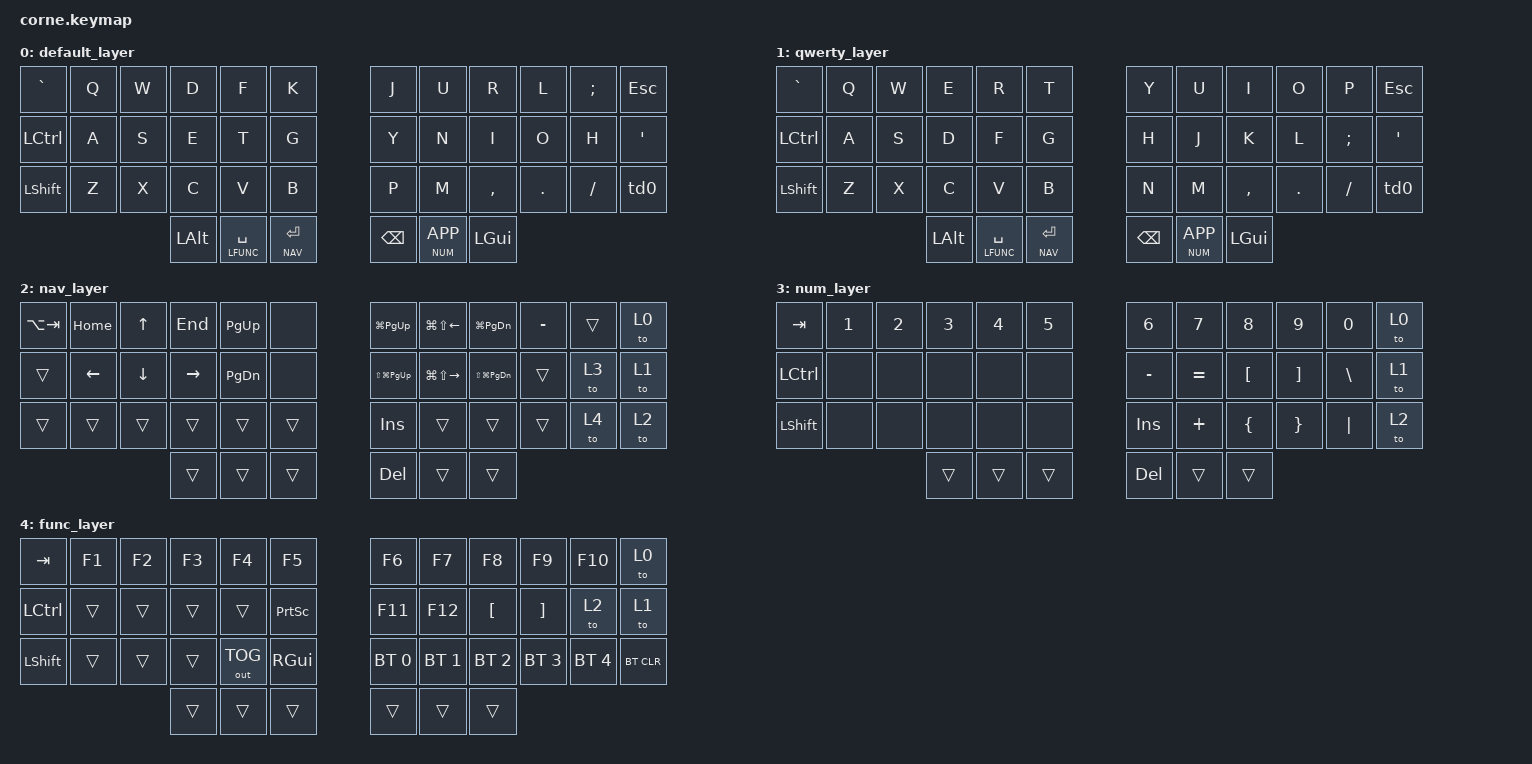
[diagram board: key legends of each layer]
/*
 * Copyright (c) 2020 The ZMK Contributors
 *
 * SPDX-License-Identifier: MIT
 */

#include <behaviors.dtsi>
#include <dt-bindings/zmk/keys.h>
#include <dt-bindings/zmk/bt.h>
#include <dt-bindings/zmk/outputs.h>

#define NORMAN 0
#define QWERTY 1
#define NAV 2
#define NUM 3
#define LFUNC 4


/ {
    behaviors {
        td0: tap_dance_0 {
            compatible = "zmk,behavior-tap-dance";
            label = "TAP_DANCE_0";
            #binding-cells = <0>;
            tapping-term-ms = <200>;
            bindings = <&kp LBKT>, <&kp RBKT>;
        }; 
        td1: tap_dance_1 {
            compatible = "zmk,behavior-tap-dance";
            label = "TAP_DANCE_1";
            #binding-cells = <0>;
            tapping-term-ms = <200>;
            bindings = <&kp LBRC>, <&kp RBRC>;
        };
    };
    keymap {
        compatible = "zmk,keymap";
        default_layer {
// -------------------------------------------------------------------------------------
// | GRAVE |  Q  |  W  |  D   |  F  |  K  |  |  J   |      U   |  R  |  L  |  ;  | ESC  |
// | CTRL  |  A  |  S  |  E   |  T  |  G  |  |  Y   |      N   |  I  |  O  |  H  |  '   |
// | LSHFT |  Z  |  X  |  C   |  V  |  B  |  |  P   |      M   |  ,  |  .  |  /  |  []  |
//                     | ALT  |     |     |  | BSPC | NUM/MENU | GUI |
            bindings = <
    &kp GRAVE &kp Q &kp W &kp D &kp F &kp K   &kp J &kp U    &kp R     &kp L   &kp SEMI &kp ESC
    &kp LCTRL &kp A &kp S &kp E &kp T &kp G   &kp Y &kp N    &kp I     &kp O   &kp H    &kp SQT
    &kp LSHFT &kp Z &kp X &kp C &kp V &kp B   &kp P &kp M    &kp COMMA &kp DOT &kp FSLH &td0
            &kp LALT &lt LFUNC SPACE &lt NAV  RET   &kp BSPC &lt NUM K_APP &kp LGUI
            >;
        };
        qwerty_layer {
// -------------------------------------------------------------------------------------
// | GRAVE |  Q  |  W  |  E   |  R  |  T  |  |  Y   |  U   |  I  |  O  |  P  | ESC  |
// | CTRL  |  A  |  S  |  D   |  F  |  G  |  |  H   |  J   |  K  |  L  |  ;  |  '   |
// | LSHFT |  Z  |  X  |  C   |  V  |  B  |  |  N   |  M   |  ,  |  .  |  /  |  []  |
//                     | ALT |     |     |  | BSPC | NUM/MENU | GUI |
            bindings = <
    &kp GRAVE &kp Q &kp W &kp E &kp R &kp T   &kp Y &kp U  &kp I     &kp O   &kp P    &kp ESC
    &kp LCTRL &kp A &kp S &kp D &kp F &kp G   &kp H &kp J  &kp K     &kp L   &kp SEMI &kp SQT
    &kp LSHFT  &kp Z &kp X &kp C &kp V &kp B   &kp N &kp M  &kp COMMA &kp DOT &kp FSLH &td0
            &kp LALT &lt LFUNC SPACE &lt NAV RET   &kp BSPC &lt NUM K_APP &kp LGUI
            >;
        };
        nav_layer {
// --------------------------------------------------------------------------------------
// | ALT TAB | HOME  | UP  |  END  | PGUP |      |   | BT1 | BT2 | BT3 | BT4 | BT5 |     |
// |         | LEFT  | DWN | RIGHT | PGDN |      |   | LFT | DWN | UP  |  -  |  =  |     |
// |         | V LFT |     | V RGT |      |      |   | INS |     |     |     |     |     |
//                            |    |      |      |   | DEL |     | GUI |
            bindings = <
    &kp LA(TAB) &kp HOME &kp UP   &kp END   &kp PG_UP &none       &kp LG(PG_UP)     &kp LG(LS(LEFT))  &kp LG(PG_DN)     &kp MINUS &trans &to 0
    &trans      &kp LEFT &kp DOWN &kp RIGHT &kp PG_DN &none       &kp LS(LG(PG_UP)) &kp LG(LS(RIGHT)) &kp LS(LG(PG_DN)) &trans    &to 3  &to 1
    &trans      &trans   &trans   &trans    &trans    &trans      &kp INS           &trans            &trans            &trans    &to 4  &to 2
                                  &trans    &trans    &trans      &kp DEL           &trans            &trans
            >;
        };
        num_layer {

// -----------------------------------------------------------------------------------------
// |  TAB |  1  |  2  |  3  |  4  |  5  |   |  6   |  7  |  8  |  9  |  0  | BKSP |
// | CTRL |     |     |     |     |     |   |  -   |  =  |  [  |  ]  |  \  |  `   |
// | SHFT |     |     |     |     |     |   | BOOT |  +  |  {  |  }  | "|" |  ~   |
//                    |     |     |     |   |      |     | ALT |
            bindings = <
    &kp TAB   &kp N1 &kp N2 &kp N3 &kp N4 &kp N5     &kp N6    &kp N7    &kp N8   &kp N9   &kp N0   &to 0
    &kp LCTRL &none  &none  &none  &none  &none      &kp MINUS &kp EQUAL &kp LBKT &kp RBKT &kp BSLH &to 1
    &kp LSHFT &none  &none  &none  &none  &none      &kp INS   &kp PLUS  &kp LBRC &kp RBRC &kp PIPE &to 2
                            &trans &trans &trans     &kp DEL   &trans    &trans
            >;
        };
        func_layer {
// -----------------------------------------------------------------------------------------
// |  TAB |  F1  |  F2  |  F3  |  F4  |  F5   |   |  F6  |  F7  |  F8  |  F9  |  F10  |  F11  |
// | CTRL |      |      |      |      | PSCRN |   | F12  |   =  |  [   |  ]   |   \   |   `   |
// | SHFT |      |      |      |      |       |   | BT1  |  BT2 |  BT3 |  BT4 |  BT5  | BTCLR |
//                      |      |      |       |   |      |      |      |
            bindings = <
    &kp TAB   &kp F1 &kp F2 &kp F3 &kp F4 &kp F5       &kp F6       &kp F7       &kp F8       &kp F9       &kp F10      &to 0
    &kp LCTRL &trans &trans &trans &trans &kp PSCRN    &kp F11      &kp F12      &kp LBKT     &kp RBKT     &to 2        &to 1
    &kp LSHFT &trans &trans &trans &out OUT_TOG &kp RGUI     &bt BT_SEL 0 &bt BT_SEL 1 &bt BT_SEL 2 &bt BT_SEL 3 &bt BT_SEL 4 &bt BT_CLR
                            &trans &trans &trans       &trans       &trans   &trans
            >;
        };
    };
};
